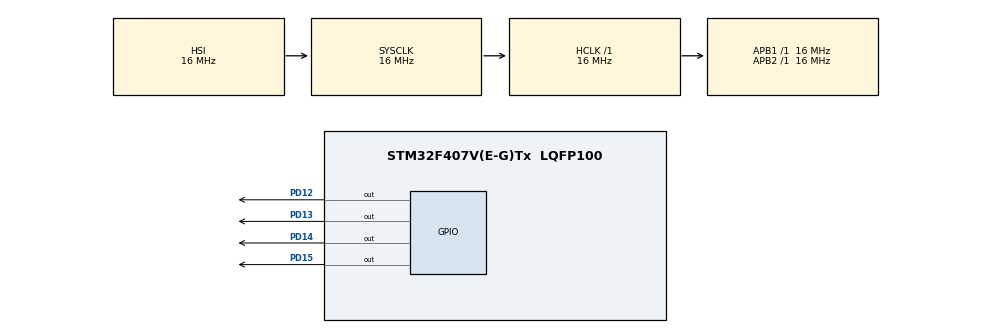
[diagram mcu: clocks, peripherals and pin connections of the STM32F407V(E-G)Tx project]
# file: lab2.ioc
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Mcu.Family=STM32F4
Mcu.Name=STM32F407V(E-G)Tx
Mcu.Package=LQFP100
NVIC.PriorityGroup=NVIC_PRIORITYGROUP_4
PD12.Signal=GPIO_Output
PD13.Signal=GPIO_Output
PD14.Signal=GPIO_Output
PD15.Signal=GPIO_Output
ProjectManager.HeapSize=0x200
ProjectManager.StackSize=0x400
ProjectManager.TargetToolchain=STM32CubeIDE
RCC.AHBFreq_Value=16000000
RCC.APB1Freq_Value=16000000
RCC.APB2Freq_Value=16000000
RCC.CortexFreq_Value=16000000
RCC.HSE_VALUE=25000000
RCC.HSI_VALUE=16000000
RCC.LSE_VALUE=32768
RCC.SYSCLKFreq_VALUE=16000000
RCC.VCOOutputFreq_Value=192000000
board=custom

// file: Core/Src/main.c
/* USER CODE BEGIN Header */
/**
  ******************************************************************************
  * @file           : main.c
  * @brief          : Main program body
  ******************************************************************************
  * @attention
  *
  * Copyright (c) 2026 STMicroelectronics.
  * All rights reserved.
  *
  * This software is licensed under terms that can be found in the LICENSE file
  * in the root directory of this software component.
  * If no LICENSE file comes with this software, it is provided AS-IS.
  *
  ******************************************************************************
  */
/* USER CODE END Header */
#include "main.h"

/* USER CODE BEGIN PD */
#define NUM_LEDS (sizeof(LED_PINS) / sizeof(LED_PINS[0]))
/* USER CODE END PD */

/* USER CODE BEGIN PV */
static const uint16_t LED_PINS[] = {GPIO_PIN_12, GPIO_PIN_13, GPIO_PIN_14, GPIO_PIN_15};
/* USER CODE END PV */

void SystemClock_Config(void);
static void MX_GPIO_Init(void);
/* USER CODE BEGIN PFP */
void LED_Control_ChangePause(void);
void LED_Control_Algorithm1(void);
void LED_Control_Algorithm2(void);
void LED_Control_Algorithm3(void);
void LED_Control_Algorithm4(void);
/* USER CODE END PFP */

int main(void)
{

  /* MCU Configuration--------------------------------------------------------*/

  /* Reset of all peripherals, Initializes the Flash interface and the Systick. */
  HAL_Init();

  /* USER CODE BEGIN Init */
  void (*algorithms[])(void) = {
      LED_Control_Algorithm1,
      LED_Control_Algorithm2,
      LED_Control_Algorithm3,
      LED_Control_Algorithm4
  };

  uint8_t num_algorithms = sizeof(algorithms) / sizeof(algorithms[0]);
  uint8_t current_algo = 0;
  /* USER CODE END Init */

  /* Configure the system clock */
  SystemClock_Config();

  /* Initialize all configured peripherals */
  MX_GPIO_Init();

  /* Infinite loop */
  while (1)
  {

    /* USER CODE BEGIN 3 */
	  uint32_t start_time = HAL_GetTick();

	  while((HAL_GetTick() - start_time) < 3000)
	  {
		  algorithms[current_algo]();
	  }

	  LED_Control_ChangePause();
	  current_algo = (current_algo + 1) % num_algorithms;
  }
  /* USER CODE END 3 */
}

void SystemClock_Config(void)
{
  RCC_OscInitTypeDef RCC_OscInitStruct = {0};
  RCC_ClkInitTypeDef RCC_ClkInitStruct = {0};

  /** Configure the main internal regulator output voltage
  */
  __HAL_RCC_PWR_CLK_ENABLE();
  __HAL_PWR_VOLTAGESCALING_CONFIG(PWR_REGULATOR_VOLTAGE_SCALE1);

  /** Initializes the RCC Oscillators according to the specified parameters
  * in the RCC_OscInitTypeDef structure.
  */
  RCC_OscInitStruct.OscillatorType = RCC_OSCILLATORTYPE_HSI;
  RCC_OscInitStruct.HSIState = RCC_HSI_ON;
  RCC_OscInitStruct.HSICalibrationValue = RCC_HSICALIBRATION_DEFAULT;
  RCC_OscInitStruct.PLL.PLLState = RCC_PLL_NONE;
  if (HAL_RCC_OscConfig(&RCC_OscInitStruct) != HAL_OK)
  {
    Error_Handler();
  }

  /** Initializes the CPU, AHB and APB buses clocks
  */
  RCC_ClkInitStruct.ClockType = RCC_CLOCKTYPE_HCLK|RCC_CLOCKTYPE_SYSCLK
                              |RCC_CLOCKTYPE_PCLK1|RCC_CLOCKTYPE_PCLK2;
  RCC_ClkInitStruct.SYSCLKSource = RCC_SYSCLKSOURCE_HSI;
  RCC_ClkInitStruct.AHBCLKDivider = RCC_SYSCLK_DIV1;
  RCC_ClkInitStruct.APB1CLKDivider = RCC_HCLK_DIV1;
  RCC_ClkInitStruct.APB2CLKDivider = RCC_HCLK_DIV1;

  if (HAL_RCC_ClockConfig(&RCC_ClkInitStruct, FLASH_LATENCY_0) != HAL_OK)
  {
    Error_Handler();
  }
}

static void MX_GPIO_Init(void)
{
  GPIO_InitTypeDef GPIO_InitStruct = {0};

  /* GPIO Ports Clock Enable */
  __HAL_RCC_GPIOD_CLK_ENABLE();

  /*Configure GPIO pin Output Level */
  HAL_GPIO_WritePin(GPIOD, GPIO_PIN_12|GPIO_PIN_13|GPIO_PIN_14|GPIO_PIN_15, GPIO_PIN_RESET);

  /*Configure GPIO pins : PD12 PD13 PD14 PD15 */
  GPIO_InitStruct.Pin = GPIO_PIN_12|GPIO_PIN_13|GPIO_PIN_14|GPIO_PIN_15;
  GPIO_InitStruct.Mode = GPIO_MODE_OUTPUT_PP;
  GPIO_InitStruct.Pull = GPIO_NOPULL;
  GPIO_InitStruct.Speed = GPIO_SPEED_FREQ_LOW;
  HAL_GPIO_Init(GPIOD, &GPIO_InitStruct);

}

/* USER CODE BEGIN 4 */
void LED_Control_ChangePause(void)
{
	uint16_t all_pins = GPIO_PIN_12 | GPIO_PIN_13 | GPIO_PIN_14 | GPIO_PIN_15;

	for(int i = 0; i < 3; i++)
	{
		HAL_GPIO_WritePin(GPIOD, all_pins, GPIO_PIN_RESET);
		HAL_Delay(200);
		HAL_GPIO_WritePin(GPIOD, all_pins, GPIO_PIN_SET);
		HAL_Delay(200);
	}
	HAL_GPIO_WritePin(GPIOD, all_pins, GPIO_PIN_RESET);
}

void LED_Control_Algorithm1(void)
{
  for (int i = 0; i < NUM_LEDS; i++)
  {
    HAL_GPIO_WritePin(GPIOD, LED_PINS[i], GPIO_PIN_SET);
    HAL_Delay(200);
    HAL_GPIO_WritePin(GPIOD, LED_PINS[i], GPIO_PIN_RESET);
  }
}

void LED_Control_Algorithm2(void)
{
  for (int max = 0; max < NUM_LEDS; max++)
  {
    for (int i = 0; i <= max; i++)
    {
      HAL_GPIO_WritePin(GPIOD, LED_PINS[i], GPIO_PIN_SET);
      HAL_Delay(500);
      HAL_GPIO_WritePin(GPIOD, LED_PINS[i], GPIO_PIN_RESET);
    }
  }
}

void LED_Control_Algorithm3(void)
{
  HAL_GPIO_WritePin(GPIOD, GPIO_PIN_12 | GPIO_PIN_13, GPIO_PIN_SET);
  HAL_Delay(300);
  HAL_GPIO_WritePin(GPIOD, GPIO_PIN_12 | GPIO_PIN_13, GPIO_PIN_RESET);

  HAL_GPIO_WritePin(GPIOD, GPIO_PIN_14 | GPIO_PIN_15, GPIO_PIN_SET);
  HAL_Delay(300);
  HAL_GPIO_WritePin(GPIOD, GPIO_PIN_14 | GPIO_PIN_15, GPIO_PIN_RESET);
}

void LED_Control_Algorithm4(void)
{
  for (int i = 0; i < NUM_LEDS; i++)
  {
    HAL_GPIO_WritePin(GPIOD, LED_PINS[i], GPIO_PIN_SET);
    HAL_Delay(300);
  }

  HAL_GPIO_WritePin(GPIOD, GPIO_PIN_12 | GPIO_PIN_13 | GPIO_PIN_14 | GPIO_PIN_15, GPIO_PIN_RESET);
}
/* USER CODE END 4 */

void Error_Handler(void)
{
  __disable_irq();
  while (1)
  {
  }
}
